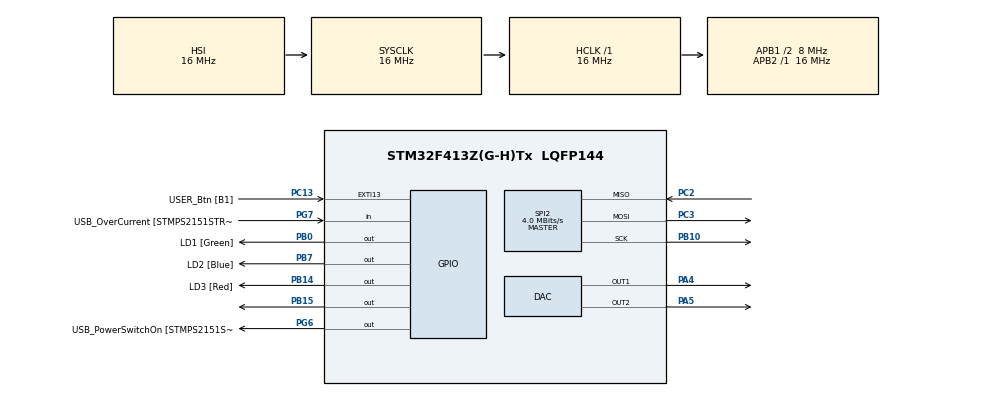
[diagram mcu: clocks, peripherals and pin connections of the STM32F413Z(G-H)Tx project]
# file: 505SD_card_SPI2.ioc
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FATFS._MAX_SS=4096
FATFS._USE_LFN=1
Mcu.Family=STM32F4
Mcu.Name=STM32F413Z(G-H)Tx
Mcu.Package=LQFP144
NVIC.PriorityGroup=NVIC_PRIORITYGROUP_4
PA10.GPIO_Label=USB_ID
PA10.Signal=USB_OTG_FS_ID
PA11.GPIO_Label=USB_DM
PA11.Signal=USB_OTG_FS_DM
PA12.GPIO_Label=USB_DP
PA12.Signal=USB_OTG_FS_DP
PA13.GPIO_Label=TMS
PA13.Mode=Trace_Asynchronous_SW
PA13.Signal=SYS_JTMS-SWDIO
PA14.GPIO_Label=TCK
PA14.Mode=Trace_Asynchronous_SW
PA14.Signal=SYS_JTCK-SWCLK
PA4.Signal=COMP_DAC1_group
PA5.Signal=COMP_DAC2_group
PA8.GPIO_Label=USB_SOF [TP1]
PA8.Signal=USB_OTG_FS_SOF
PA9.GPIO_Label=USB_VBUS
PA9.Signal=USB_OTG_FS_VBUS
PB0.GPIO_Label=LD1 [Green]
PB0.Signal=GPIO_Output
PB10.Mode=Full_Duplex_Master
PB10.Signal=SPI2_SCK
PB14.GPIO_Label=LD3 [Red]
PB14.Signal=GPIO_Output
PB15.Signal=GPIO_Output
PB3.GPIO_Label=SWO
PB3.Mode=Trace_Asynchronous_SW
PB3.Signal=SYS_JTDO-SWO
PB7.GPIO_Label=LD2 [Blue]
PB7.Signal=GPIO_Output
PC13.GPIO_Label=USER_Btn [B1]
PC13.Signal=GPXTI13
PC14-OSC32_IN.Signal=RCC_OSC32_IN
PC15-OSC32_OUT.Signal=RCC_OSC32_OUT
PC2.Mode=Full_Duplex_Master
PC2.Signal=SPI2_MISO
PC3.Mode=Full_Duplex_Master
PC3.Signal=SPI2_MOSI
PD8.GPIO_Label=STLK_RX [STM32F103CBT6_PA3]
PD8.Signal=USART3_TX
PD9.GPIO_Label=STLK_TX [STM32F103CBT6_PA2]
PD9.Signal=USART3_RX
PG6.GPIO_Label=USB_PowerSwitchOn [STMPS2151STR_EN]
PG6.Signal=GPIO_Output
PG7.GPIO_Label=USB_OverCurrent [STMPS2151STR_FAULT]
PG7.Signal=GPIO_Input
PH0\ -\ OSC_IN.GPIO_Label=MCO
PH0\ -\ OSC_IN.Signal=RCC_OSC_IN
PH1\ -\ OSC_OUT.Signal=RCC_OSC_OUT
ProjectManager.HeapSize=0x200
ProjectManager.StackSize=0x400
ProjectManager.TargetToolchain=STM32CubeIDE
RCC.48MHZClocksFreq_Value=24000000
RCC.AHBFreq_Value=16000000
RCC.APB1CLKDivider=RCC_HCLK_DIV2
RCC.APB1Freq_Value=8000000
RCC.APB1TimFreq_Value=16000000
RCC.APB2Freq_Value=16000000
RCC.APB2TimFreq_Value=16000000
RCC.CortexFreq_Value=16000000
RCC.HCLKFreq_Value=16000000
RCC.HSE_VALUE=8000000
RCC.HSI_VALUE=16000000
RCC.PLLMUL=RCC_PLL_MUL9
RCC.PRESCALERUSB=RCC_USBCLKSOURCE_PLL_DIV1_5
RCC.SYSCLKFreq_VALUE=16000000
RCC.SYSCLKSourceVirtual=RCC_SYSCLKSOURCE_PLLCLK
RCC.USBFreq_Value=96000000
RCC.VCOOutputFreq_Value=192000000
SH.COMP_DAC1_group.0=DAC_OUT1,DAC_OUT1
SH.COMP_DAC2_group.0=DAC_OUT2,DAC_OUT2
SPI2.CalculateBaudRate=4.0 MBits/s
SPI2.Direction=SPI_DIRECTION_2LINES
SPI2.Mode=SPI_MODE_MASTER
SPI2.VirtualType=VM_MASTER
VP_FATFS_VS_Generic.Mode=User_defined
VP_TIM6_VS_ClockSourceINT.Mode=Enable_Timer
board=NUCLEO-F413ZH

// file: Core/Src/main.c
/* USER CODE BEGIN Header */
/**
  ******************************************************************************
  * @file           : main.c
  * @brief          : Main program body
  ******************************************************************************
  * @attention
  *
  * Copyright (c) 2024 STMicroelectronics.
  * All rights reserved.
  *
  * This software is licensed under terms that can be found in the LICENSE file
  * in the root directory of this software component.
  * If no LICENSE file comes with this software, it is provided AS-IS.
  *
  ******************************************************************************
  */
/* USER CODE END Header */
#include "main.h"
#include "fatfs.h"

/* USER CODE BEGIN Includes */
#include <stdio.h>
#include <string.h>
#include <stdbool.h>
/* USER CODE END Includes */

DAC_HandleTypeDef hdac;

SPI_HandleTypeDef hspi2;

TIM_HandleTypeDef htim6;

void SystemClock_Config(void);
static void MX_GPIO_Init(void);
static void MX_SPI2_Init(void);
static void MX_DAC_Init(void);
static void MX_TIM6_Init(void);
/* USER CODE BEGIN PFP */
void process_SD_card( void );
/* USER CODE END PFP */

int main(void)
{

  /* USER CODE BEGIN 1 */
	printf("start\r\n");
  /* USER CODE END 1 */

  /* MCU Configuration--------------------------------------------------------*/

  /* Reset of all peripherals, Initializes the Flash interface and the Systick. */
  HAL_Init();

  /* Configure the system clock */
  SystemClock_Config();

  /* Initialize all configured peripherals */
  MX_GPIO_Init();
  MX_SPI2_Init();
  MX_FATFS_Init();
  MX_DAC_Init();
  MX_TIM6_Init();
  /* USER CODE BEGIN 2 */
  process_SD_card();
  /* USER CODE END 2 */

  /* Infinite loop */
  while (1)
  {

  }
}

void SystemClock_Config(void)
{
  RCC_OscInitTypeDef RCC_OscInitStruct = {0};
  RCC_ClkInitTypeDef RCC_ClkInitStruct = {0};

  /** Configure the main internal regulator output voltage
  */
  __HAL_RCC_PWR_CLK_ENABLE();
  __HAL_PWR_VOLTAGESCALING_CONFIG(PWR_REGULATOR_VOLTAGE_SCALE1);

  /** Initializes the RCC Oscillators according to the specified parameters
  * in the RCC_OscInitTypeDef structure.
  */
  RCC_OscInitStruct.OscillatorType = RCC_OSCILLATORTYPE_HSI;
  RCC_OscInitStruct.HSIState = RCC_HSI_ON;
  RCC_OscInitStruct.HSICalibrationValue = RCC_HSICALIBRATION_DEFAULT;
  RCC_OscInitStruct.PLL.PLLState = RCC_PLL_NONE;
  if (HAL_RCC_OscConfig(&RCC_OscInitStruct) != HAL_OK)
  {
    Error_Handler();
  }

  /** Initializes the CPU, AHB and APB buses clocks
  */
  RCC_ClkInitStruct.ClockType = RCC_CLOCKTYPE_HCLK|RCC_CLOCKTYPE_SYSCLK
                              |RCC_CLOCKTYPE_PCLK1|RCC_CLOCKTYPE_PCLK2;
  RCC_ClkInitStruct.SYSCLKSource = RCC_SYSCLKSOURCE_HSI;
  RCC_ClkInitStruct.AHBCLKDivider = RCC_SYSCLK_DIV1;
  RCC_ClkInitStruct.APB1CLKDivider = RCC_HCLK_DIV2;
  RCC_ClkInitStruct.APB2CLKDivider = RCC_HCLK_DIV1;

  if (HAL_RCC_ClockConfig(&RCC_ClkInitStruct, FLASH_LATENCY_0) != HAL_OK)
  {
    Error_Handler();
  }
}

static void MX_DAC_Init(void)
{

  DAC_ChannelConfTypeDef sConfig = {0};

  /** DAC Initialization
  */
  hdac.Instance = DAC;
  if (HAL_DAC_Init(&hdac) != HAL_OK)
  {
    Error_Handler();
  }

  /** DAC channel OUT1 config
  */
  sConfig.DAC_Trigger = DAC_TRIGGER_NONE;
  sConfig.DAC_OutputBuffer = DAC_OUTPUTBUFFER_ENABLE;
  if (HAL_DAC_ConfigChannel(&hdac, &sConfig, DAC_CHANNEL_1) != HAL_OK)
  {
    Error_Handler();
  }

  /** DAC channel OUT2 config
  */
  if (HAL_DAC_ConfigChannel(&hdac, &sConfig, DAC_CHANNEL_2) != HAL_OK)
  {
    Error_Handler();
  }

}

static void MX_SPI2_Init(void)
{

  /* SPI2 parameter configuration*/
  hspi2.Instance = SPI2;
  hspi2.Init.Mode = SPI_MODE_MASTER;
  hspi2.Init.Direction = SPI_DIRECTION_2LINES;
  hspi2.Init.DataSize = SPI_DATASIZE_8BIT;
  hspi2.Init.CLKPolarity = SPI_POLARITY_LOW;
  hspi2.Init.CLKPhase = SPI_PHASE_1EDGE;
  hspi2.Init.NSS = SPI_NSS_SOFT;
  hspi2.Init.BaudRatePrescaler = SPI_BAUDRATEPRESCALER_2;
  hspi2.Init.FirstBit = SPI_FIRSTBIT_MSB;
  hspi2.Init.TIMode = SPI_TIMODE_DISABLE;
  hspi2.Init.CRCCalculation = SPI_CRCCALCULATION_DISABLE;
  hspi2.Init.CRCPolynomial = 10;
  if (HAL_SPI_Init(&hspi2) != HAL_OK)
  {
    Error_Handler();
  }

}

static void MX_TIM6_Init(void)
{

  TIM_MasterConfigTypeDef sMasterConfig = {0};

  htim6.Instance = TIM6;
  htim6.Init.Prescaler = 0;
  htim6.Init.CounterMode = TIM_COUNTERMODE_UP;
  htim6.Init.Period = 65535;
  htim6.Init.AutoReloadPreload = TIM_AUTORELOAD_PRELOAD_DISABLE;
  if (HAL_TIM_Base_Init(&htim6) != HAL_OK)
  {
    Error_Handler();
  }
  sMasterConfig.MasterOutputTrigger = TIM_TRGO_RESET;
  sMasterConfig.MasterSlaveMode = TIM_MASTERSLAVEMODE_DISABLE;
  if (HAL_TIMEx_MasterConfigSynchronization(&htim6, &sMasterConfig) != HAL_OK)
  {
    Error_Handler();
  }

}

static void MX_GPIO_Init(void)
{
  GPIO_InitTypeDef GPIO_InitStruct = {0};

  /* GPIO Ports Clock Enable */
  __HAL_RCC_GPIOC_CLK_ENABLE();
  __HAL_RCC_GPIOH_CLK_ENABLE();
  __HAL_RCC_GPIOA_CLK_ENABLE();
  __HAL_RCC_GPIOB_CLK_ENABLE();
  __HAL_RCC_GPIOD_CLK_ENABLE();
  __HAL_RCC_GPIOG_CLK_ENABLE();

  /*Configure GPIO pin Output Level */
  HAL_GPIO_WritePin(GPIOB, LD1_Pin|LD3_Pin|GPIO_PIN_15|LD2_Pin, GPIO_PIN_RESET);

  /*Configure GPIO pin Output Level */
  HAL_GPIO_WritePin(USB_PowerSwitchOn_GPIO_Port, USB_PowerSwitchOn_Pin, GPIO_PIN_RESET);

  /*Configure GPIO pin : USER_Btn_Pin */
  GPIO_InitStruct.Pin = USER_Btn_Pin;
  GPIO_InitStruct.Mode = GPIO_MODE_IT_RISING;
  GPIO_InitStruct.Pull = GPIO_NOPULL;
  HAL_GPIO_Init(USER_Btn_GPIO_Port, &GPIO_InitStruct);

  /*Configure GPIO pins : LD1_Pin LD3_Pin PB15 LD2_Pin */
  GPIO_InitStruct.Pin = LD1_Pin|LD3_Pin|GPIO_PIN_15|LD2_Pin;
  GPIO_InitStruct.Mode = GPIO_MODE_OUTPUT_PP;
  GPIO_InitStruct.Pull = GPIO_NOPULL;
  GPIO_InitStruct.Speed = GPIO_SPEED_FREQ_LOW;
  HAL_GPIO_Init(GPIOB, &GPIO_InitStruct);

  /*Configure GPIO pins : STLK_RX_Pin STLK_TX_Pin */
  GPIO_InitStruct.Pin = STLK_RX_Pin|STLK_TX_Pin;
  GPIO_InitStruct.Mode = GPIO_MODE_AF_PP;
  GPIO_InitStruct.Pull = GPIO_NOPULL;
  GPIO_InitStruct.Speed = GPIO_SPEED_FREQ_VERY_HIGH;
  GPIO_InitStruct.Alternate = GPIO_AF7_USART3;
  HAL_GPIO_Init(GPIOD, &GPIO_InitStruct);

  /*Configure GPIO pin : USB_PowerSwitchOn_Pin */
  GPIO_InitStruct.Pin = USB_PowerSwitchOn_Pin;
  GPIO_InitStruct.Mode = GPIO_MODE_OUTPUT_PP;
  GPIO_InitStruct.Pull = GPIO_NOPULL;
  GPIO_InitStruct.Speed = GPIO_SPEED_FREQ_LOW;
  HAL_GPIO_Init(USB_PowerSwitchOn_GPIO_Port, &GPIO_InitStruct);

  /*Configure GPIO pin : USB_OverCurrent_Pin */
  GPIO_InitStruct.Pin = USB_OverCurrent_Pin;
  GPIO_InitStruct.Mode = GPIO_MODE_INPUT;
  GPIO_InitStruct.Pull = GPIO_NOPULL;
  HAL_GPIO_Init(USB_OverCurrent_GPIO_Port, &GPIO_InitStruct);

  /*Configure GPIO pins : USB_SOF_Pin USB_ID_Pin USB_DM_Pin USB_DP_Pin */
  GPIO_InitStruct.Pin = USB_SOF_Pin|USB_ID_Pin|USB_DM_Pin|USB_DP_Pin;
  GPIO_InitStruct.Mode = GPIO_MODE_AF_PP;
  GPIO_InitStruct.Pull = GPIO_NOPULL;
  GPIO_InitStruct.Speed = GPIO_SPEED_FREQ_VERY_HIGH;
  GPIO_InitStruct.Alternate = GPIO_AF10_OTG_FS;
  HAL_GPIO_Init(GPIOA, &GPIO_InitStruct);

}

/* USER CODE BEGIN 4 */
void process_SD_card( void )
{
  FATFS       FatFs;                //Fatfs handle
  FIL         fil;                  //File handle
  FRESULT     fres;                 //Result after operations
  char        buf[100];

  do
  {
    //Mount the SD Card
    fres = f_mount(&FatFs, "", 1);    //1=mount now
    if (fres != FR_OK)
    {
      printf("No SD Card found : (%i)\r\n", fres);
      break;
    }
    printf("SD Card Mounted Successfully!!!\r\n");

    //Read the SD Card Total size and Free Size
    FATFS *pfs;
    DWORD fre_clust;
    uint32_t totalSpace, freeSpace;

    f_getfree("", &fre_clust, &pfs);
    totalSpace = (uint32_t)((pfs->n_fatent - 2) * pfs->csize * 0.5);
    freeSpace = (uint32_t)(fre_clust * pfs->csize * 0.5);

    printf("TotalSpace : %lu bytes, FreeSpace = %lu bytes\n", totalSpace, freeSpace);

    //Open the file
    fres = f_open(&fil, "EmbeTronicX.txt", FA_WRITE | FA_READ | FA_CREATE_ALWAYS);
    if(fres != FR_OK)
    {
      printf("File creation/open Error : (%i)\r\n", fres);
      break;
    }

    printf("Writing data!!!\r\n");
    //write the data
    f_puts("Welcome to EmbeTronicX", &fil);

    //close your file
    f_close(&fil);

    //Open the file
    fres = f_open(&fil, "EmbeTronicX.txt", FA_READ);
    if(fres != FR_OK)
    {
      printf("File opening Error : (%i)\r\n", fres);
      break;
    }

    //read the data
    f_gets(buf, sizeof(buf), &fil);

    printf("Read Data : %s\n", buf);

    //close your file
    f_close(&fil);
    printf("Closing File!!!\r\n");
#if 0
    //Delete the file.
    fres = f_unlink(EmbeTronicX.txt);
    if (fres != FR_OK)
    {
      printf("Cannot able to delete the file\n");
    }
#endif
  } while( false );

  //We're done, so de-mount the drive
  f_mount(NULL, "", 0);
  printf("SD Card Unmounted Successfully!!!\r\n");
}
/* USER CODE END 4 */

void Error_Handler(void)
{
  __disable_irq();
  while (1)
  {
  }
}
